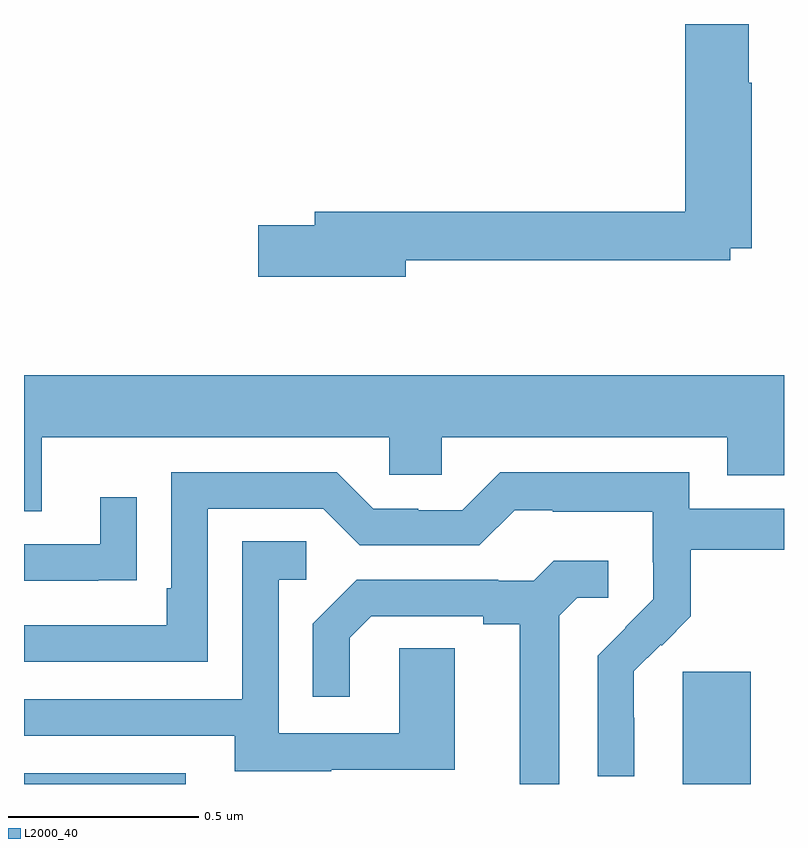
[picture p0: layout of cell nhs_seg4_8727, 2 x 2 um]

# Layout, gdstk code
import gdstk
lib = gdstk.Library(unit=1e-6, precision=1e-09)
def R(c, l, rs):  # rectangles x0, y0, x1, y1
    for r in rs: c.add(gdstk.rectangle(r[:2], r[2:], *l))
def P(c, l, *ps):  # polygons
    for p in ps: c.add(gdstk.Polygon(p, *l))
L2000_40 = (2000, 40)

nhs_seg4_8727 = lib.new_cell('nhs_seg4_8727')
R(nhs_seg4_8727, L2000_40, [(218,803.9,218.425,803.928), (219.734,803.9,219.913,804.195)])
P(nhs_seg4_8727, L2000_40, [(219.004,805.278),(219.858,805.278),(219.858,805.31),(219.915,805.31),(219.915,805.745),(219.907,805.745),(219.907,805.9),(219.74,805.9),(219.74,805.406),(218.765,805.406),(218.765,805.37),(218.616,805.37),(218.616,805.235),(219.004,805.235)],
  [(218.047,804.812),(218.961,804.812),(218.961,804.714),(219.099,804.714),(219.099,804.812),(219.851,804.812),(219.851,804.713),(220,804.713),(220,804.976),(218,804.976),(218,804.618),(218.047,804.618)],
  [(219.606,804.074),(219.605,804.074),(219.605,804.197),(219.675,804.267),(219.678,804.264),(219.755,804.341),(219.755,804.516),(220,804.516),(220,804.624),(219.75,804.624),(219.75,804.721),(219.253,804.721),(219.153,804.621),(219.038,804.621),(219.038,804.624),(218.919,804.624),(218.823,804.72),(218.388,804.72),(218.388,804.415),(218.375,804.415),(218.375,804.318),(218,804.318),(218,804.222),(218.484,804.222),(218.484,804.624),(218.787,804.624),(218.883,804.528),(219.198,804.528),(219.291,804.621),(219.391,804.621),(219.391,804.617),(219.654,804.617),(219.654,804.483),(219.656,804.483),(219.656,804.386),(219.582,804.312),(219.583,804.311),(219.51,804.238),(219.51,803.92),(219.606,803.92)],
  [(218.195,804.436),(218.297,804.436),(218.297,804.655),(218.201,804.655),(218.201,804.531),(218,804.531),(218,804.435),(218.195,804.435)],
  [(218.809,803.937),(219.133,803.937),(219.133,804.257),(218.988,804.257),(218.988,804.033),(218.67,804.033),(218.67,804.438),(218.743,804.438),(218.743,804.539),(218.574,804.539),(218.574,804.123),(218,804.123),(218,804.027),(218.555,804.027),(218.555,803.933),(218.809,803.933)],
  [(219.409,804.343),(219.456,804.39),(219.538,804.39),(219.538,804.487),(219.394,804.487),(219.342,804.435),(219.248,804.435),(219.248,804.438),(218.876,804.438),(218.76,804.322),(218.76,804.129),(218.857,804.129),(218.857,804.285),(218.914,804.342),(219.209,804.342),(219.209,804.32),(219.305,804.32),(219.305,803.9),(219.409,803.9)])

lib.write_gds('nhs_seg4_8727.gds')
